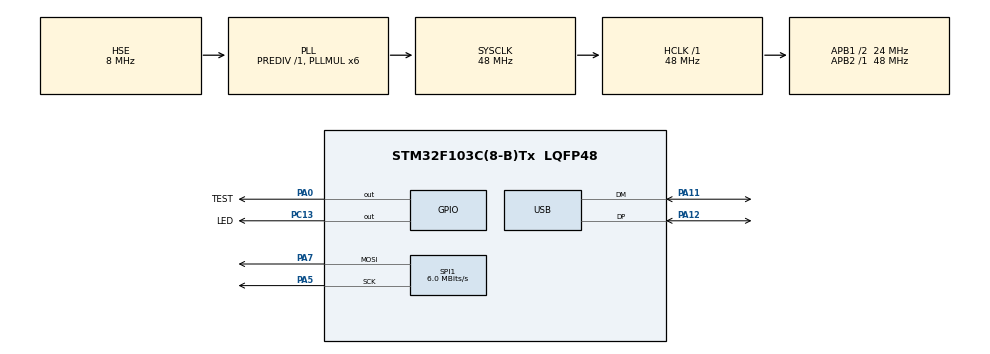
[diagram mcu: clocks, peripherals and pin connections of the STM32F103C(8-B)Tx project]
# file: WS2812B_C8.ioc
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Dma.Request0=SPI1_TX
Dma.SPI1_TX.0.Direction=DMA_MEMORY_TO_PERIPH
Dma.SPI1_TX.0.Instance=DMA1_Channel3
Dma.SPI1_TX.0.MemDataAlignment=DMA_MDATAALIGN_BYTE
Dma.SPI1_TX.0.MemInc=DMA_MINC_ENABLE
Dma.SPI1_TX.0.Mode=DMA_CIRCULAR
Dma.SPI1_TX.0.PeriphDataAlignment=DMA_PDATAALIGN_BYTE
Dma.SPI1_TX.0.PeriphInc=DMA_PINC_DISABLE
Dma.SPI1_TX.0.Priority=DMA_PRIORITY_VERY_HIGH
Mcu.Family=STM32F1
Mcu.Name=STM32F103C(8-B)Tx
Mcu.Package=LQFP48
NVIC.DMA1_Channel3_IRQn=true\:1\:0\:true\:false\:true\:false\:true
NVIC.PriorityGroup=NVIC_PRIORITYGROUP_4
NVIC.USB_LP_CAN1_RX0_IRQn=true\:0\:0\:false\:false\:true\:false\:true
PA0-WKUP.GPIO_Label=TEST
PA0-WKUP.Signal=GPIO_Output
PA11.Mode=Device
PA11.Signal=USB_DM
PA12.Mode=Device
PA12.Signal=USB_DP
PA13.Mode=Serial_Wire
PA13.Signal=SYS_JTMS-SWDIO
PA14.Mode=Serial_Wire
PA14.Signal=SYS_JTCK-SWCLK
PA5.Mode=TX_Only_Simplex_Unidirect_Master
PA5.Signal=SPI1_SCK
PA7.Mode=TX_Only_Simplex_Unidirect_Master
PA7.Signal=SPI1_MOSI
PC13-TAMPER-RTC.GPIO_Label=LED
PC13-TAMPER-RTC.Signal=GPIO_Output
PD0-OSC_IN.Mode=HSE-External-Oscillator
PD0-OSC_IN.Signal=RCC_OSC_IN
PD1-OSC_OUT.Mode=HSE-External-Oscillator
PD1-OSC_OUT.Signal=RCC_OSC_OUT
ProjectManager.HeapSize=0x200
ProjectManager.StackSize=0x400
ProjectManager.TargetToolchain=STM32CubeIDE
RCC.AHBFreq_Value=48000000
RCC.APB1CLKDivider=RCC_HCLK_DIV2
RCC.APB1Freq_Value=24000000
RCC.APB1TimFreq_Value=48000000
RCC.APB2Freq_Value=48000000
RCC.APB2TimFreq_Value=48000000
RCC.HCLKFreq_Value=48000000
RCC.PLLMUL=RCC_PLL_MUL6
RCC.PLLSourceVirtual=RCC_PLLSOURCE_HSE
RCC.SYSCLKFreq_VALUE=48000000
RCC.SYSCLKSource=RCC_SYSCLKSOURCE_PLLCLK
RCC.USBFreq_Value=48000000
SPI1.BaudRatePrescaler=SPI_BAUDRATEPRESCALER_8
SPI1.CalculateBaudRate=6.0 MBits/s
SPI1.Direction=SPI_DIRECTION_2LINES
SPI1.Mode=SPI_MODE_MASTER
SPI1.VirtualType=VM_MASTER
USB_DEVICE.CLASS_NAME_FS=CDC
USB_DEVICE.VirtualMode=Cdc
USB_DEVICE.VirtualModeFS=Cdc_FS
VP_USB_DEVICE_VS_USB_DEVICE_CDC_FS.Mode=CDC_FS
board=custom

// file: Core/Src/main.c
/* USER CODE BEGIN Header */
/**
  ******************************************************************************
  * @file           : main.c
  * @brief          : Main program body
  ******************************************************************************
  * @attention
  *
  * <h2><center>&copy; Copyright (c) 2020 STMicroelectronics.
  * All rights reserved.</center></h2>
  *
  * This software component is licensed by ST under BSD 3-Clause license,
  * the "License"; You may not use this file except in compliance with the
  * License. You may obtain a copy of the License at:
  *                        opensource.org/licenses/BSD-3-Clause
  *
  ******************************************************************************
  */
/* USER CODE END Header */

#include "main.h"
#include "dma.h"
#include "spi.h"
#include "usb_device.h"
#include "gpio.h"

/* USER CODE BEGIN Includes */
#include <stdlib.h>
#include "ws2812b.h"
#include "ws2812b_fx.h"
#include "usb_parsing.h"
/* USER CODE END Includes */

void SystemClock_Config(void);

/* USER CODE BEGIN 0 */
void USB_Parsing(void);
/* USER CODE END 0 */

int main(void)
{

  /* MCU Configuration--------------------------------------------------------*/

  /* Reset of all peripherals, Initializes the Flash interface and the Systick. */
  HAL_Init();

  /* Configure the system clock */
  SystemClock_Config();

  /* Initialize all configured peripherals */
  MX_GPIO_Init();
  MX_DMA_Init();
  MX_SPI1_Init();
  MX_USB_DEVICE_Init();
  /* USER CODE BEGIN 2 */
  WS2812B_Init(&hspi1);

  WS2812BFX_Init(3);	// Start 3 segments

  WS2812BFX_SetSpeed(0, 5000);	// Speed of segment 0
  WS2812BFX_SetSpeed(1, 2000);	// Speed of segment 1
  WS2812BFX_SetSpeed(2, 500);	// Speed of segment 2
  WS2812BFX_SetColorRGB(0, 32,0,64);	// Set color 0
  WS2812BFX_SetColorRGB(1, 32,0,0);		// Set color 1
  WS2812BFX_SetColorRGB(2, 0,64,0);		// Set color 2
  WS2812BFX_SetMode(0, FX_MODE_WHITE_TO_COLOR);	// Set mode segment 0

  WS2812BFX_SetColorRGB(0, 16,64,0);
  WS2812BFX_SetColorRGB(1, 0,32,64);
  WS2812BFX_SetColorRGB(2, 64,0,0);
  WS2812BFX_SetMode(1, FX_MODE_BLACK_TO_COLOR);	// Set mode segment 1

  WS2812BFX_SetColorRGB(0, 16,64,0);
  WS2812BFX_SetColorRGB(1, 0,32,64);
  WS2812BFX_SetColorRGB(2, 64,0,0);
  WS2812BFX_SetMode(2, FX_MODE_COLOR_WIPE); 	// Set mode segment 2

  WS2812BFX_Start(0);	// Start segment 0
  WS2812BFX_Start(1);	// Start segment 1
  WS2812BFX_Start(2);	// Start segment 2
  HAL_Delay(200);
  /* USER CODE END 2 */

  /* Infinite loop */
  /* USER CODE BEGIN WHILE */
  while (1)
  {
	  WS2812BFX_Callback();	// FX effects calllback

	  USB_Parsing();	// USB communication parsing
    /* USER CODE END WHILE */

  }
}

void SystemClock_Config(void)
{
  RCC_OscInitTypeDef RCC_OscInitStruct = {0};
  RCC_ClkInitTypeDef RCC_ClkInitStruct = {0};
  RCC_PeriphCLKInitTypeDef PeriphClkInit = {0};

  /** Initializes the CPU, AHB and APB busses clocks
  */
  RCC_OscInitStruct.OscillatorType = RCC_OSCILLATORTYPE_HSE;
  RCC_OscInitStruct.HSEState = RCC_HSE_ON;
  RCC_OscInitStruct.HSEPredivValue = RCC_HSE_PREDIV_DIV1;
  RCC_OscInitStruct.HSIState = RCC_HSI_ON;
  RCC_OscInitStruct.PLL.PLLState = RCC_PLL_ON;
  RCC_OscInitStruct.PLL.PLLSource = RCC_PLLSOURCE_HSE;
  RCC_OscInitStruct.PLL.PLLMUL = RCC_PLL_MUL6;
  if (HAL_RCC_OscConfig(&RCC_OscInitStruct) != HAL_OK)
  {
    Error_Handler();
  }
  /** Initializes the CPU, AHB and APB busses clocks
  */
  RCC_ClkInitStruct.ClockType = RCC_CLOCKTYPE_HCLK|RCC_CLOCKTYPE_SYSCLK
                              |RCC_CLOCKTYPE_PCLK1|RCC_CLOCKTYPE_PCLK2;
  RCC_ClkInitStruct.SYSCLKSource = RCC_SYSCLKSOURCE_PLLCLK;
  RCC_ClkInitStruct.AHBCLKDivider = RCC_SYSCLK_DIV1;
  RCC_ClkInitStruct.APB1CLKDivider = RCC_HCLK_DIV2;
  RCC_ClkInitStruct.APB2CLKDivider = RCC_HCLK_DIV1;

  if (HAL_RCC_ClockConfig(&RCC_ClkInitStruct, FLASH_LATENCY_1) != HAL_OK)
  {
    Error_Handler();
  }
  PeriphClkInit.PeriphClockSelection = RCC_PERIPHCLK_USB;
  PeriphClkInit.UsbClockSelection = RCC_USBCLKSOURCE_PLL;
  if (HAL_RCCEx_PeriphCLKConfig(&PeriphClkInit) != HAL_OK)
  {
    Error_Handler();
  }
}

/* USER CODE BEGIN 4 */
void HAL_SYSTICK_Callback(void)
{
	WS2812BFX_SysTickCallback();	// FX effects software timers
}
/* USER CODE END 4 */

void Error_Handler(void)
{
}

/************************ (C) COPYRIGHT STMicroelectronics *****END OF FILE****/
